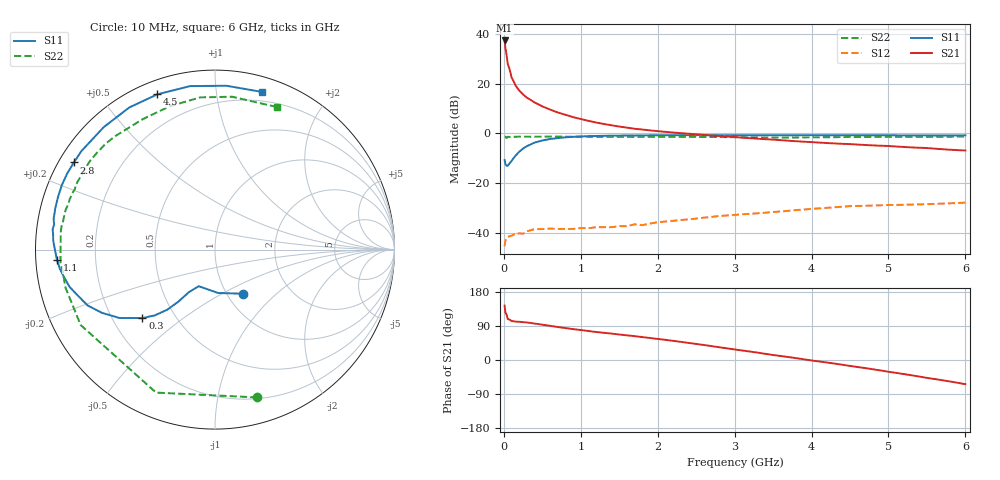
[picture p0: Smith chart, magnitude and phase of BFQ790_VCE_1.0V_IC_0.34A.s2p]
! (c) 2015  Infineon Technologies AG, Munich
! Infineon Technologies  Discrete & RF Semiconductors
! BFQ790
! VCE =  1.0 V,  IC = 0.34 A
! Common Emitter S-Parameters:  May 2015
# GHz  S  MA  R  50
!  f  S11  S21  S12  S22
! GHz  MAG  ANG  MAG  ANG  MAG  ANG  MAG  ANG
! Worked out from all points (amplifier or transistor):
!   77 points, 10 MHz to 6 GHz, reference 50 ohm
!   highest |S21| = 37.4 dB at 10 MHz (marker M1)
!   |S21| within 3 dB of that: start of sweep to 19.92 MHz
!   unconditionally stable (mu >= 1): 121.3 MHz to end of sweep
!   at 130 MHz: K = 1.05, MAG = 29.4 dB, |S12| = -40.7 dB
!   at 2.2 GHz: K = 1.51, MAG = 13.5 dB, |S12| = -35.1 dB
!   at 6 GHz: K = 1.30, MAG = 7.2 dB, |S12| = -27.8 dB
!   S11 on the Smith chart (normalised r, x): 10 MHz: 1.19, -0.64; 300 MHz: 0.33, -0.36; 1.1 GHz: 0.06, -0.03; 2.8 GHz: 0.04, +0.28; 4.5 GHz: 0.06, +0.69; 6 GHz: 0.12, +1.34
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0.01  0.2924 -57.2  74.36 143.5  0.0054 53.0  0.8569 -74.0
0.02  0.2425 -85.8  52.49 125.3  0.007 33.8  0.8618 -112.4
0.05  0.2232 -114.0  25.28 108.2  0.0083 17.6  0.8584 -150.7
0.1  0.2789 -121.6  13.42 102.9  0.0088 13.4  0.8594 -165.7
0.15  0.3541 -125.1  9.327 101.4  0.0095 14.6  0.8576 -172.1
0.2  0.4286 -128.5  7.309 100.8  0.0098 20.0  0.8638 -175.2
0.25  0.4972 -132.5  6.087 99.9  0.0096 16.1  0.8614 -177.6
0.3  0.5563 -136.7  5.243 99.0  0.0108 13.6  0.8605 -179.6
0.4  0.6548 -144.4  4.2 96.1  0.0119 13.9  0.8605 177.5
0.5  0.7222 -150.8  3.511 93.2  0.0119 9.7  0.8626 175.3
0.6  0.7746 -156.3  3.03 90.2  0.0122 14.2  0.8651 173.1
0.7  0.8062 -161.5  2.651 87.1  0.012 17.0  0.8648 171.2
0.8  0.8363 -165.6  2.376 84.3  0.012 12.1  0.8611 169.7
1.1  0.8821 -176.2  1.793 76.5  0.0124 17.3  0.8606 164.9
1.5  0.9058 174.7  1.377 67.3  0.0137 19.3  0.8547 159.4
2.1  0.9204 163.4  1.078 53.2  0.0169 20.0  0.8523 150.3
2.8  0.9239 148.3  0.89 33.7  0.0218 12.1  0.848 135.8
3.1  0.9215 141.4  0.824 25.1  0.0236 9.1  0.8367 129.0
4.1  0.9218 119.0  0.655 -3.9  0.0311 -7.1  0.8374 105.1
4.5  0.9227 110.4  0.611 -15.6  0.0345 -15.4  0.8521 95.5
5.1  0.9165 96.2  0.546 -34.0  0.0365 -29.0  0.8541 81.6
6  0.9168 73.3  0.454 -63.8  0.0406 -50.7  0.8662 66.5
